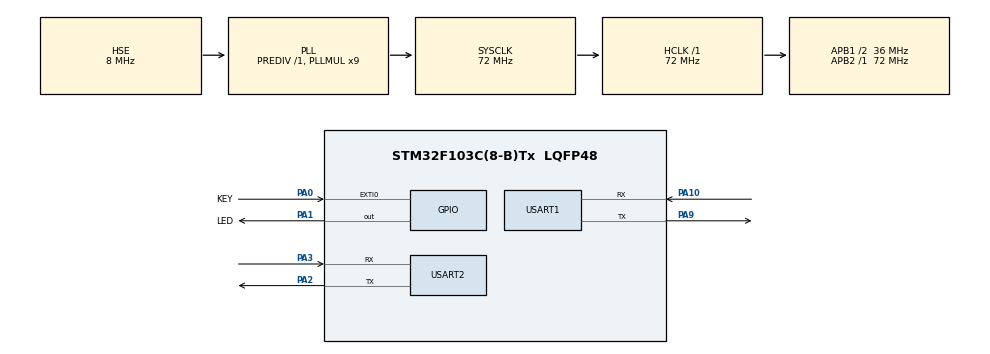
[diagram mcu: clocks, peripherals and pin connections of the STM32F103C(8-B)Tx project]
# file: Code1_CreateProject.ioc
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FREERTOS.Tasks01=defaultTask,24,128,StartDefaultTask,As weak,NULL,Dynamic,NULL,NULL;MyTask,8,512,StartMyTask,As external,NULL,Dynamic,NULL,NULL
Mcu.Family=STM32F1
Mcu.Name=STM32F103C(8-B)Tx
Mcu.Package=LQFP48
NVIC.EXTI0_IRQn=true\:5\:0\:true\:true\:true\:1\:true\:true\:true
NVIC.PriorityGroup=NVIC_PRIORITYGROUP_4
NVIC.TIM1_UP_IRQn=true\:15\:0\:false\:false\:true\:false\:false\:true
NVIC.TimeBase=TIM1_UP_IRQn
NVIC.TimeBaseIP=TIM1
NVIC.USART2_IRQn=true\:5\:0\:false\:true\:true\:2\:true\:true\:true
PA0-WKUP.GPIO_Label=KEY
PA0-WKUP.GPIO_ModeDefaultEXTI=GPIO_MODE_IT_FALLING
PA0-WKUP.Signal=GPXTI0
PA1.GPIO_Label=LED
PA1.GPIO_ModeDefaultOutputPP=GPIO_MODE_OUTPUT_PP
PA1.GPIO_PuPd=GPIO_NOPULL
PA1.Signal=GPIO_Output
PA10.Mode=Asynchronous
PA10.Signal=USART1_RX
PA13.Mode=Serial_Wire
PA13.Signal=SYS_JTMS-SWDIO
PA14.Mode=Serial_Wire
PA14.Signal=SYS_JTCK-SWCLK
PA2.Mode=Asynchronous
PA2.Signal=USART2_TX
PA3.Mode=Asynchronous
PA3.Signal=USART2_RX
PA9.Mode=Asynchronous
PA9.Signal=USART1_TX
PD0-OSC_IN.Mode=HSE-External-Oscillator
PD0-OSC_IN.Signal=RCC_OSC_IN
PD1-OSC_OUT.Mode=HSE-External-Oscillator
PD1-OSC_OUT.Signal=RCC_OSC_OUT
ProjectManager.HeapSize=0x200
ProjectManager.StackSize=0x400
ProjectManager.TargetToolchain=MDK-ARM V5.32
RCC.AHBFreq_Value=72000000
RCC.APB1CLKDivider=RCC_HCLK_DIV2
RCC.APB1Freq_Value=36000000
RCC.APB1TimFreq_Value=72000000
RCC.APB2Freq_Value=72000000
RCC.APB2TimFreq_Value=72000000
RCC.HCLKFreq_Value=72000000
RCC.PLLMUL=RCC_PLL_MUL9
RCC.PLLSourceVirtual=RCC_PLLSOURCE_HSE
RCC.SYSCLKFreq_VALUE=72000000
RCC.SYSCLKSource=RCC_SYSCLKSOURCE_PLLCLK
RCC.USBFreq_Value=72000000
USART1.VirtualMode=VM_ASYNC
USART2.VirtualMode=VM_ASYNC
VP_FREERTOS_VS_CMSIS_V2.Mode=CMSIS_V2
VP_SYS_VS_tim1.Mode=TIM1
board=custom

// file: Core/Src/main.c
/* USER CODE BEGIN Header */
/**
  ******************************************************************************
  * @file           : main.c
  * @brief          : Main program body
  ******************************************************************************
  * @attention
  *
  * Copyright (c) 2022 STMicroelectronics.
  * All rights reserved.
  *
  * This software is licensed under terms that can be found in the LICENSE file
  * in the root directory of this software component.
  * If no LICENSE file comes with this software, it is provided AS-IS.
  *
  ******************************************************************************
  */
/* USER CODE END Header */
#include "main.h"
#include "cmsis_os.h"
#include "usart.h"
#include "gpio.h"

/* USER CODE BEGIN Includes */
#include <stdio.h>
#include "mqttclient.h"
#include "platform_mutex.h"

/* USER CODE END Includes */

void SystemClock_Config(void);
void MX_FREERTOS_Init(void);
static void MX_NVIC_Init(void);
/* USER CODE BEGIN PFP */
#include <stdio.h>
#include <string.h>
/* USER CODE END PFP */

/* USER CODE BEGIN 0 */

mqtt_client_t *client = NULL;

static void smarthome_msg_handler(void* client, message_data_t* msg)
{
	printf("Get msg: %s\r\n", (char *)msg->message->payload);
	if (strstr((char *)msg->message->payload, "\"dev\":\"led\",\"status\":\"0\""))
	{
	   printf("led off\r\n");
	   HAL_GPIO_WritePin(LED_GPIO_Port, LED_Pin, GPIO_PIN_SET);
	}
	else if (strstr((char *)msg->message->payload, "\"dev\":\"led\",\"status\":\"1\""))
	{
	   printf("led on\r\n");
	   HAL_GPIO_WritePin(LED_GPIO_Port, LED_Pin, GPIO_PIN_RESET);
	}
	else if (strstr((char *)msg->message->payload, "\"dev\":\"led\",\"status\":\"2\""))
	{
		printf("led switch\r\n");
		HAL_GPIO_TogglePin(LED_GPIO_Port, LED_Pin);
	}
}

void StartMyTask(void *argument)
{
//	uint8_t rx_data[200] = {0};        // 保存接收数据
    int err;
	int cnt = 0;
    char buf[40] = "this is a message for test";
    mqtt_message_t msg;
    memset(&msg, 0, sizeof(msg));

	mqtt_log_init();

	client = mqtt_lease();

	mqtt_set_port(client, "1883");
	//mqtt_set_host(client, "192.168.0.130"); /* 本地实验 */
	mqtt_set_host(client, "47.114.187.247"); /* iot.100ask.net: 47.114.187.247 */
	mqtt_set_client_id(client, random_string(10));
	mqtt_set_user_name(client, random_string(10));
	mqtt_set_password(client, random_string(10));
	mqtt_set_clean_session(client, 1);

	do {
		err = mqtt_connect(client);
	} while (err);

	printf("mqtt_connect err = %d\r\n", err);

    msg.payload = (void *) buf;
    msg.qos = QOS0;
	msg.payloadlen = strlen(buf);
	mqtt_publish(client, "home", &msg);

	err = mqtt_subscribe(client, "home", QOS0, smarthome_msg_handler);
	printf("subscribe err = %d\r\n", err);

  while (1)
  {
#if 1
  	  sprintf(buf, "TestMsg%d", cnt++);
	  msg.payload = (void *) buf;
	  msg.qos = QOS0;
	  msg.payloadlen = strlen(buf);

	  err = mqtt_publish(client, "home", &msg);

	  //printf("Publish msg: %s, err = %d\r\n", buf, err);

	  //mqtt_list_subscribe_topic(client);
#endif
	 osDelay(10000);
  }
}

/* USER CODE END 0 */

int main(void)
{
  /* USER CODE BEGIN 1 */
//  uint8_t wifi_data[200] = {0};
  /* USER CODE END 1 */

  /* MCU Configuration--------------------------------------------------------*/

  /* Reset of all peripherals, Initializes the Flash interface and the Systick. */
  HAL_Init();

  /* Configure the system clock */
  SystemClock_Config();

  /* Initialize all configured peripherals */
  MX_GPIO_Init();
  MX_USART1_UART_Init();
  MX_USART2_UART_Init();

  /* Initialize interrupts */
  MX_NVIC_Init();
  /* USER CODE BEGIN 2 */
  //Key_Update_WIFI((char *)wifi_data, 500);

  //USART_StartRx();   //启动�?始接收数�?
  //USART2_Transmit(tx_data, sizeof(tx_data), 500); //向模块发送数�?
  EnableUART2IRQ();

  /* USER CODE END 2 */

  /* Init scheduler */
  osKernelInitialize();  /* Call init function for freertos objects (in freertos.c) */
  MX_FREERTOS_Init();
  /* Start scheduler */
  osKernelStart();

  /* We should never get here as control is now taken by the scheduler */
  /* Infinite loop */
  while (1)
  {

  }
}

void SystemClock_Config(void)
{
  RCC_OscInitTypeDef RCC_OscInitStruct = {0};
  RCC_ClkInitTypeDef RCC_ClkInitStruct = {0};

  /** Initializes the RCC Oscillators according to the specified parameters
  * in the RCC_OscInitTypeDef structure.
  */
  RCC_OscInitStruct.OscillatorType = RCC_OSCILLATORTYPE_HSE;
  RCC_OscInitStruct.HSEState = RCC_HSE_ON;
  RCC_OscInitStruct.HSEPredivValue = RCC_HSE_PREDIV_DIV1;
  RCC_OscInitStruct.HSIState = RCC_HSI_ON;
  RCC_OscInitStruct.PLL.PLLState = RCC_PLL_ON;
  RCC_OscInitStruct.PLL.PLLSource = RCC_PLLSOURCE_HSE;
  RCC_OscInitStruct.PLL.PLLMUL = RCC_PLL_MUL9;
  if (HAL_RCC_OscConfig(&RCC_OscInitStruct) != HAL_OK)
  {
    Error_Handler();
  }
  /** Initializes the CPU, AHB and APB buses clocks
  */
  RCC_ClkInitStruct.ClockType = RCC_CLOCKTYPE_HCLK|RCC_CLOCKTYPE_SYSCLK
                              |RCC_CLOCKTYPE_PCLK1|RCC_CLOCKTYPE_PCLK2;
  RCC_ClkInitStruct.SYSCLKSource = RCC_SYSCLKSOURCE_PLLCLK;
  RCC_ClkInitStruct.AHBCLKDivider = RCC_SYSCLK_DIV1;
  RCC_ClkInitStruct.APB1CLKDivider = RCC_HCLK_DIV2;
  RCC_ClkInitStruct.APB2CLKDivider = RCC_HCLK_DIV1;

  if (HAL_RCC_ClockConfig(&RCC_ClkInitStruct, FLASH_LATENCY_2) != HAL_OK)
  {
    Error_Handler();
  }
}

/**
  * @brief NVIC Configuration.
  * @retval None
  */
static void MX_NVIC_Init(void)
{
  /* EXTI0_IRQn interrupt configuration */
  HAL_NVIC_SetPriority(EXTI0_IRQn, 5, 0);
  HAL_NVIC_EnableIRQ(EXTI0_IRQn);
  /* USART2_IRQn interrupt configuration */
  HAL_NVIC_SetPriority(USART2_IRQn, 5, 0);
  HAL_NVIC_EnableIRQ(USART2_IRQn);
}

void HAL_TIM_PeriodElapsedCallback(TIM_HandleTypeDef *htim)
{
  if (htim->Instance == TIM1) {
    HAL_IncTick();
  }
}

void Error_Handler(void)
{
  __disable_irq();
  while (1)
  {
  }
}

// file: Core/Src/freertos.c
/* USER CODE BEGIN Header */
/**
  ******************************************************************************
  * File Name          : freertos.c
  * Description        : Code for freertos applications
  ******************************************************************************
  * @attention
  *
  * Copyright (c) 2022 STMicroelectronics.
  * All rights reserved.
  *
  * This software is licensed under terms that can be found in the LICENSE file
  * in the root directory of this software component.
  * If no LICENSE file comes with this software, it is provided AS-IS.
  *
  ******************************************************************************
  */
/* USER CODE END Header */

#include "FreeRTOS.h"
#include "task.h"
#include "main.h"
#include "cmsis_os.h"

/* Definitions for defaultTask */
osThreadId_t defaultTaskHandle;
const osThreadAttr_t defaultTask_attributes = {
  .name = "defaultTask",
  .stack_size = 128 * 4,
  .priority = (osPriority_t) osPriorityNormal,
};
/* Definitions for MyTask */
osThreadId_t MyTaskHandle;
const osThreadAttr_t MyTask_attributes = {
  .name = "MyTask",
  .stack_size = 512 * 4,
  //.priority = (osPriority_t) osPriorityLow,
  .priority = (osPriority_t) 5,
};

void StartDefaultTask(void *argument);
extern void StartMyTask(void *argument);

void MX_FREERTOS_Init(void); /* (MISRA C 2004 rule 8.1) */

void MX_FREERTOS_Init(void) {

  /* Create the thread(s) */
  /* creation of defaultTask */
  //defaultTaskHandle = osThreadNew(StartDefaultTask, NULL, &defaultTask_attributes);

  /* creation of MyTask */
  MyTaskHandle = osThreadNew(StartMyTask, NULL, &MyTask_attributes);

}

__weak void StartDefaultTask(void *argument)
{
  for(;;)
  {
    osDelay(1);
  }
}
